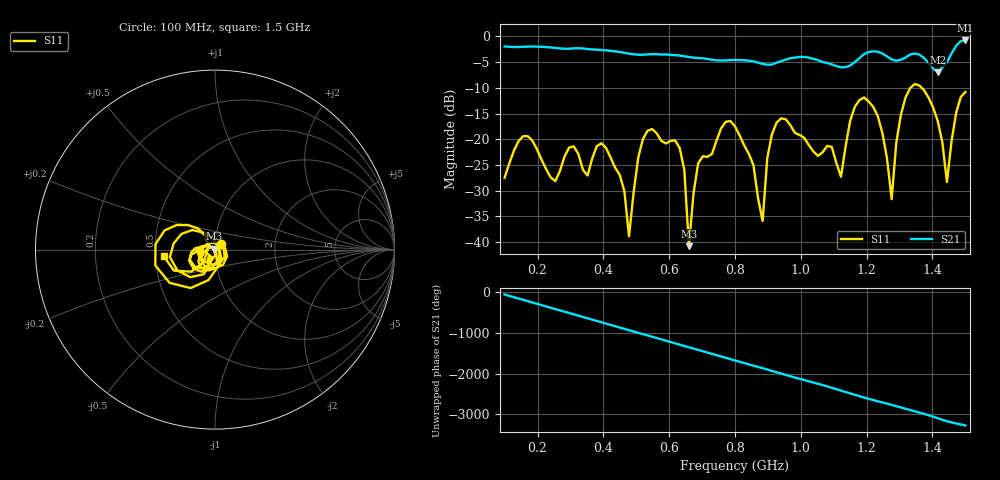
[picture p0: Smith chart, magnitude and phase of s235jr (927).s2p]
! NanoVNA-App
! Date: 2025-09-25 15:11:23
! Start: 100MHz Stop: 1,5GHz Points: 101
! S-Parameter data: F S11 S21 S12 S22
# Hz S RI R 50
!  Frequency  S11_Real  S11_Imag  S21_Real  S21_Imag  S12_Real  S12_Imag  S22_Real  S22_Imag
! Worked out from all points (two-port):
!   101 points, 100 MHz to 1.5 GHz, reference 50 ohm
!   highest |S21| = -0.80 dB at 1.5 GHz (marker M1); lowest = -7.0 dB at 1.416 GHz (marker M2)
!   |S21| within 3 dB of the highest: start of sweep to 638.7 MHz; 1.186 GHz to 1.259 GHz (73.28 MHz wide, 5.99 % of centre)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
!   lowest |S11| = -40.8 dB at 660 MHz (marker M3), VSWR 1.02, Z = 49.3 + j0.558 ohm
!   |S11| at or under -10 dB: start of sweep to 1.333 GHz; 1.367 GHz to end of sweep
!   S12 and S22 are empty: the file has one direction only
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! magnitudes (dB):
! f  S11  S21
! 100 MHz  -27.5  -2.0
! 156 MHz  -19.4  -2.0
! 338 MHz  -25.9  -2.4
! 408 MHz  -21.7  -2.7
! 478 MHz  -38.8  -3.4
! 520 MHz  -20.0  -3.6
! 576 MHz  -20.3  -3.5
! 632 MHz  -21.7  -3.7
! 660 MHz  -40.8  -4.0
! 688 MHz  -24.7  -4.2
! 800 MHz  -17.5  -4.6
! 884 MHz  -35.9  -5.4
! 926 MHz  -16.8  -5.1
! 1.038 GHz  -22.4  -4.4
! 1.122 GHz  -27.3  -6.0
! 1.192 GHz  -11.9  -3.5
! 1.248 GHz  -18.8  -3.4
! 1.276 GHz  -31.6  -4.5
! 1.332 GHz  -10.1  -3.5
! 1.416 GHz  -16.5  -7.0
! 1.444 GHz  -28.3  -5.0
! 1.5 GHz  -10.8  -0.8
